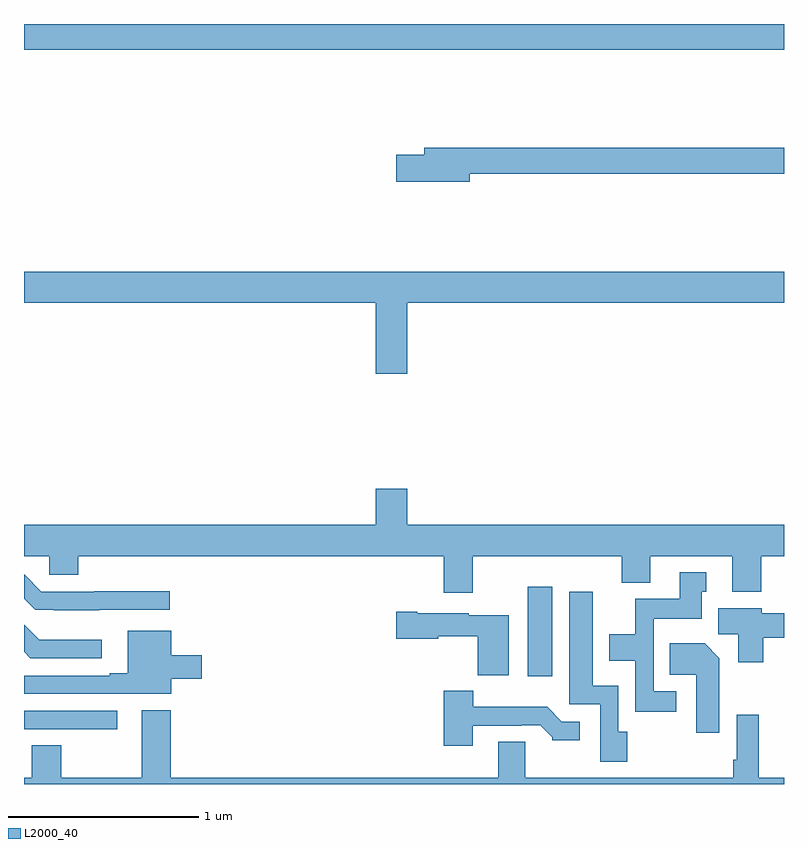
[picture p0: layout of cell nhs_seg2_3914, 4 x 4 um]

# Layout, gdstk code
import gdstk
lib = gdstk.Library(unit=1e-6, precision=1e-09)
def R(c, l, rs):  # rectangles x0, y0, x1, y1
    for r in rs: c.add(gdstk.rectangle(r[:2], r[2:], *l))
def P(c, l, *ps):  # polygons
    for p in ps: c.add(gdstk.Polygon(p, *l))
L2000_40 = (2000, 40)

nhs_seg2_3914 = lib.new_cell('nhs_seg2_3914')
R(nhs_seg2_3914, L2000_40, [(319,616.089,319.492,616.185), (321.65,616.368,321.781,616.837), (319,619.664,323,619.8)])
P(nhs_seg2_3914, L2000_40, [(321.346,619.012),(323,619.012),(323,619.148),(321.107,619.148),(321.107,619.112),(320.958,619.112),(320.958,618.97),(321.346,618.97)],
  [(321.016,618.332),(323,618.332),(323,618.496),(319,618.496),(319,618.332),(320.852,618.332),(320.852,617.958),(321.016,617.958)],
  [(321.361,617),(322.145,617),(322.145,616.859),(322.297,616.859),(322.297,617),(322.727,617),(322.727,616.811),(322.88,616.811),(322.88,617),(323,617),(323,617.164),(321.016,617.164),(321.016,617.353),(320.852,617.353),(320.852,617.164),(319,617.164),(319,617),(319.134,617),(319.134,616.902),(319.286,616.902),(319.286,617),(321.209,617),(321.209,616.806),(321.361,616.806)],
  [(322.432,616.287),(322.314,616.287),(322.314,616.67),(322.567,616.67),(322.567,616.812),(322.591,616.812),(322.591,616.915),(322.451,616.915),(322.451,616.774),(322.216,616.774),(322.216,616.588),(322.079,616.588),(322.079,616.448),(322.218,616.448),(322.218,616.179),(322.432,616.179)],
  [(319.395,616.716),(319.768,616.716),(319.768,616.814),(319.369,616.814),(319.369,616.812),(319.092,616.812),(319,616.904),(319,616.775),(319.059,616.716),(319.156,616.716),(319.156,616.715),(319.395,616.715)],
  [(322.176,616.074),(322.128,616.074),(322.128,616.318),(321.994,616.318),(321.994,616.813),(321.869,616.813),(321.869,616.221),(322.032,616.221),(322.032,615.918),(322.176,615.918)],
  [(322.89,616.57),(323,616.57),(323,616.699),(322.882,616.699),(322.882,616.726),(322.655,616.726),(322.655,616.588),(322.76,616.588),(322.76,616.44),(322.89,616.44)],
  [(321.55,616.687),(321.342,616.687),(321.342,616.699),(321.07,616.699),(321.07,616.707),(320.958,616.707),(320.958,616.565),(321.18,616.565),(321.18,616.577),(321.388,616.577),(321.388,616.373),(321.55,616.373)],
  [(319.408,616.558),(319.079,616.558),(319,616.637),(319,616.495),(319.034,616.461),(319.408,616.461)],
  [(319.774,616.355),(319.936,616.355),(319.936,616.477),(319.774,616.477),(319.774,616.606),(319.547,616.606),(319.547,616.384),(319.451,616.384),(319.451,616.371),(319,616.371),(319,616.275),(319.774,616.275)],
  [(322.66,616.462),(322.582,616.54),(322.399,616.54),(322.399,616.376),(322.538,616.376),(322.538,616.071),(322.66,616.071)],
  [(321.361,616.107),(321.617,616.107),(321.617,616.11),(321.716,616.11),(321.78,616.046),(321.78,616.031),(321.925,616.031),(321.925,616.128),(321.831,616.128),(321.753,616.207),(321.364,616.207),(321.364,616.291),(321.209,616.291),(321.209,616.002),(321.361,616.002)],
  [(323,615.832),(322.868,615.832),(322.868,616.165),(322.752,616.165),(322.752,615.928),(322.732,615.928),(322.732,615.832),(321.637,615.832),(321.637,616.022),(321.497,616.022),(321.497,615.832),(319.772,615.832),(319.772,616.189),(319.619,616.189),(319.619,615.832),(319.197,615.832),(319.197,616.004),(319.042,616.004),(319.042,615.832),(319,615.832),(319,615.8),(323,615.8)])

lib.write_gds('nhs_seg2_3914.gds')
